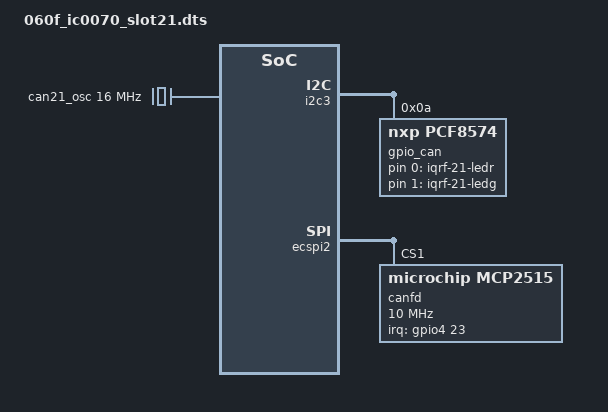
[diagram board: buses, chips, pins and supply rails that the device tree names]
/dts-v1/;


/plugin/;

/ {
	fragment@0 {
		target = <&i2c3>;
		__overlay__ {
			#address-cells = <1>;
			#size-cells = <0>;
			gpio_can: pca9501@10 {
				compatible = "nxp,pcf8574";
				gpio-controller;
				#gpio-cells = <2>;
				reg = <10>;
				gpio-line-names = "SLOT21_IQRF_BTN",
					"SLOT21_CANFD_LED0",
					"SLOT21_CANFD_LED1",
					"SLOT21_CANFD_RESET_N";
			};
		};
	};

	fragment@1 {
		target = <&ecspi2>;
		__overlay__ {
			status = "okay";
			#address-cells = <1>;
			#size-cells = <0>;

			canfd: spi@1 {
				compatible = "microchip,mcp2515";
				reg = <1>;
				status = "okay";
				spi-max-frequency = <10000000>;
				clocks = <&can21_osc>;
				pinctrl-names = "default";
				pinctrl-0 = <&pinctrl_slotirq2>;
				interrupt-parent = <&gpio4>;
				interrupts = <23 0>;
			};
		};
	};

	fragment@4 {
		target-path = "/";
		__overlay__ {
			led_slot21 {
				compatible = "gpio-leds";
				iqrf-led@1 {
					label = "iqrf-21-ledr";
					gpios = <&gpio_can 0 0>;
					default-state = "off";
					color = <1>;
				};
				iqrf-led@2 {
					label = "iqrf-21-ledg";
					gpios = <&gpio_can 1 0>;
					default-state = "off";
					color = <2>;
				};
			};
		}; 
	};

   fragment@5 {
       target-path = "/";
       __overlay__ {
           /* external oscillator of mcp2515 */
           can21_osc: can21_osc {
               compatible = "fixed-clock";
               #clock-cells = <0>;
               clock-frequency  = <16000000>;
           };
       };
   };

};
